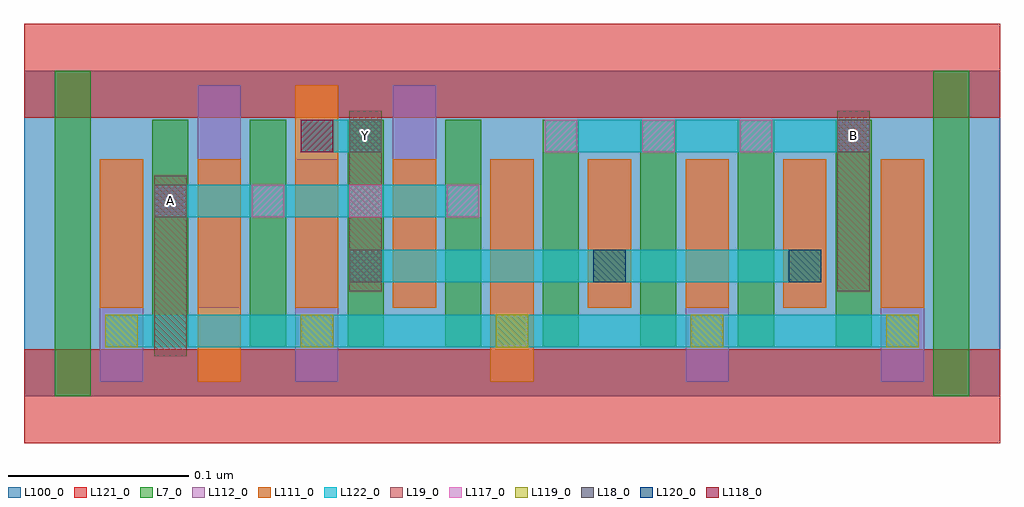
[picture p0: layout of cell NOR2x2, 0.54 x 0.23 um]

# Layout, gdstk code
import gdstk
lib = gdstk.Library(unit=1e-6, precision=2.5e-10)
def R(c, l, rs):  # rectangles x0, y0, x1, y1
    for r in rs: c.add(gdstk.rectangle(r[:2], r[2:], *l))
def A(c, l, x, y, w, h, nx, ny, dx, dy):  # array of equal rectangles
    R(c, l, [(x+i*dx, y+j*dy, x+i*dx+w, y+j*dy+h) for i in range(nx) for j in range(ny)])
L7_0 = (7, 0)
L18_0 = (18, 0)
L19_0 = (19, 0)
L100_0 = (100, 0)
L111_0 = (111, 0)
L112_0 = (112, 0)
L117_0 = (117, 0)
L118_0 = (118, 0)
L119_0 = (119, 0)
L120_0 = (120, 0)
L121_0 = (121, 0)
L122_0 = (122, 0)

nor2x2 = lib.new_cell('NOR2x2')
A(nor2x2, L7_0, 0.071, 0.027, 0.02, 0.126, 8, 1, 0.054, 0)
R(nor2x2, L7_0, [(0.017,0,0.037,0.18), (0.503,0,0.523,0.18)])
R(nor2x2, L18_0, [(0.18,0.063,0.198,0.081), (0.072,0.099,0.09,0.117), (0.18,0.135,0.198,0.153), (0.45,0.135,0.468,0.153)])
R(nor2x2, L19_0, [(0.072,0.022,0.09,0.122), (0.18,0.058,0.198,0.158), (0.45,0.058,0.468,0.158)])
R(nor2x2, L100_0, [(0,0,0.54,0.18)])
A(nor2x2, L111_0, 0.312, 0.049, 0.024, 0.082, 4, 1, 0.054, 0)
R(nor2x2, L111_0, [(0.096,0.008,0.12,0.131), (0.258,0.008,0.282,0.131), (0.042,0.049,0.066,0.131), (0.15,0.049,0.174,0.172), (0.204,0.049,0.228,0.131)])
A(nor2x2, L112_0, 0.042, 0.008, 0.024, 0.123, 5, 1, 0.108, 0)
R(nor2x2, L112_0, [(0.096,0.049,0.12,0.172), (0.204,0.049,0.228,0.172), (0.312,0.049,0.336,0.131), (0.42,0.049,0.444,0.131)])
A(nor2x2, L117_0, 0.072, 0.099, 0.018, 0.018, 4, 1, 0.054, 0)
A(nor2x2, L117_0, 0.288, 0.135, 0.018, 0.018, 4, 1, 0.054, 0)
R(nor2x2, L118_0, [(0.153,0.135,0.171,0.153)])
A(nor2x2, L119_0, 0.045, 0.027, 0.018, 0.018, 5, 1, 0.108, 0)
R(nor2x2, L119_0, [(0.315,0.063,0.333,0.081), (0.423,0.063,0.441,0.081)])
R(nor2x2, L120_0, [(0.315,0.063,0.333,0.081), (0.423,0.063,0.441,0.081)])
R(nor2x2, L121_0, [(0,-0.026,0.54,0.026), (0,0.154,0.54,0.206)])
R(nor2x2, L122_0, [(0.045,0.027,0.495,0.045), (0.18,0.063,0.441,0.081), (0.072,0.099,0.252,0.117), (0.153,0.135,0.198,0.153), (0.288,0.135,0.468,0.153)])
nor2x2.add(gdstk.Label('Y', (0.189,0.144), layer=19, texttype=251))
nor2x2.add(gdstk.Label('B', (0.459,0.144), layer=19, texttype=251))
nor2x2.add(gdstk.Label('A', (0.081,0.108), layer=19, texttype=251))

lib.write_gds('NOR2x2.gds')
